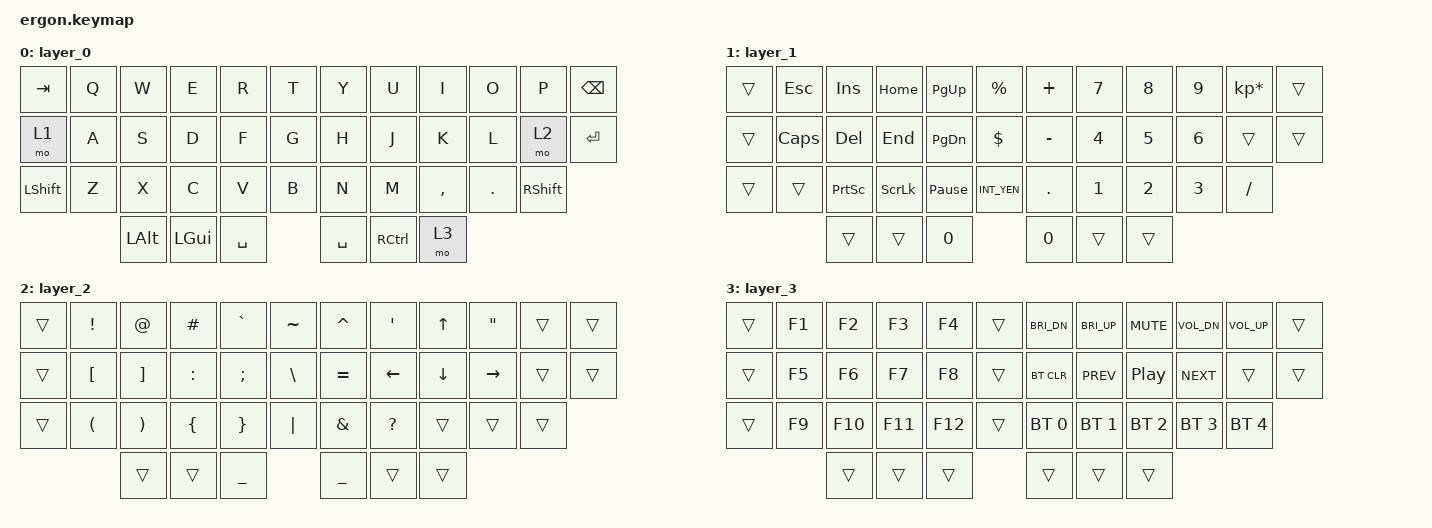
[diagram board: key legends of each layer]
/*
 * Copyright (c) 2024 Bodin Ruangjit
 *
 * SPDX-License-Identifier: MIT
 */

#include <behaviors.dtsi>
#include <dt-bindings/zmk/keys.h>
#include <dt-bindings/zmk/bt.h>

/ {
        keymap {
                compatible = "zmk,keymap";

                layer_0 {
// ┌─────┬─────┬─────┬─────┬─────┬─────┐         ┌─────┬─────┬─────┬─────┬─────┬───────┐
// │ TAB │  Q  │  W  │  E  │  R  │  T  │         │  Y  │  U  │  I  │  O  │  P  │  BSPC │
// ├─────┴─┬───┴─┬───┴─┬───┴─┬───┴─┬───┴─┐       └─┬───┴─┬───┴─┬───┴─┬───┴─┬───┴─┬─────┤
// │  L-1  │  A  │  S  │  D  │  F  │  G  │         │  H  │  J  │  K  │  L  │ L-2 │ENTER│
// ├───────┴──┬──┴──┬──┴──┬──┴──┬──┴──┬──┴──┐      └──┬──┴──┬──┴──┬──┴──┬──┴──┬──┴─────┤
// │   SHIFT  │  Z  │  X  │  C  │  V  │  B  │         │  N  │  M  │  ,  │  .  │  SHIFT │
// └──────────┴─┬───┴──┬──┴────┬┴─────┴──┬──┘      ┌──┴─────┼─────┴─┬───┴─┬───┴────────┘
//              │  ALT │  GUI  │  SPACE  │         │  SPACE │  CTRL │ L-3 │
//              └──────┴───────┴─────────┘         └────────┴───────┴─────┘
                        bindings = <
   &kp TAB    &kp Q   &kp W   &kp E   &kp R   &kp T       &kp Y     &kp U     &kp I     &kp O   &kp P   &kp BSPC
   &mo 1      &kp A   &kp S   &kp D   &kp F   &kp G       &kp H     &kp J     &kp K     &kp L   &mo 2   &kp RET
   &kp LSHFT  &kp Z   &kp X   &kp C   &kp V   &kp B       &kp N     &kp M     &kp COMMA &kp DOT &kp RSHFT
                      &kp LALT  &kp LGUI  &kp SPACE       &kp SPACE &kp RCTRL &mo 3
                        >;
                };

                layer_1 {
// ┌─────┬─────┬─────┬─────┬─────┬─────┐         ┌─────┬─────┬─────┬─────┬─────┬───────┐
// │     │ ESC │ INS │HOME │PGUP │  %  │         │  +  │  7  │  8  │  9  │  *  │       │
// ├─────┴─┬───┴─┬───┴─┬───┴─┬───┴─┬───┴─┐       └─┬───┴─┬───┴─┬───┴─┬───┴─┬───┴─┬─────┤
// │       │CAPS │ DEL │ END │PGDN │  $  │         │  -  │  4  │  5  │  6  │     │     │
// ├───────┴──┬──┴──┬──┴──┬──┴──┬──┴──┬──┴──┐      └──┬──┴──┬──┴──┬──┴──┬──┴──┬──┴─────┤
// │          │     │PRTSC│SCRLK│PAUSE│  ¥  │         │  .  │  1  │  2  │  3  │   /    │
// └──────────┴─┬───┴──┬──┴────┬┴─────┴──┬──┘      ┌──┴─────┼─────┴─┬───┴─┬───┴────────┘
//              │      │       │    0    │         │    0   │       │     │
//              └──────┴───────┴─────────┘         └────────┴───────┴─────┘
                        bindings = <
   &trans  &kp ESC   &kp INS    &kp HOME  &kp PG_UP       &kp PRCNT         &kp PLUS   &kp N7  &kp N8  &kp N9  &kp KP_ASTERISK  &trans
   &trans  &kp CAPS  &kp DEL    &kp END   &kp PG_DN       &kp DLLR          &kp MINUS  &kp N4  &kp N5  &kp N6  &trans           &trans
   &trans  &trans    &kp PSCRN  &kp SLCK  &kp PAUSE_BREAK &kp INT_YEN       &kp DOT    &kp N1  &kp N2  &kp N3  &kp FSLH
                                        &trans   &trans   &kp N0            &kp N0     &trans  &trans
                        >;
                };

                layer_2 {
// ┌─────┬─────┬─────┬─────┬─────┬─────┐         ┌─────┬─────┬─────┬─────┬─────┬───────┐
// │     │  !  │  @  │  #  │  `  │  ~  │         │  ^  │  '  │  UP │  "  │     │       │
// ├─────┴─┬───┴─┬───┴─┬───┴─┬───┴─┬───┴─┐       └─┬───┴─┬───┴─┬───┴─┬───┴─┬───┴─┬─────┤
// │       │  [  │  ]  │  :  │  ;  │  \  │         │  =  │LEFT │DOWN │RIGHT│     │     │
// ├───────┴──┬──┴──┬──┴──┬──┴──┬──┴──┬──┴──┐      └──┬──┴──┬──┴──┬──┴──┬──┴──┬──┴─────┤
// │          │  (  │  )  │  {  │  }  │  |  │         │  &  │  ?  │     │     │        │
// └──────────┴─┬───┴──┬──┴────┬┴─────┴──┬──┘      ┌──┴─────┼─────┴─┬───┴─┬───┴────────┘
//              │      │       │    _    │         │    _   │       │     │
//              └──────┴───────┴─────────┘         └────────┴───────┴─────┘
                        bindings = <
   &trans  &kp EXCL  &kp AT   &kp HASH  &kp GRAVE &kp TILDE     &kp CARET  &kp SQT   &kp UP    &kp DQT   &trans  &trans
   &trans  &kp LBKT  &kp RBKT &kp COLON &kp SEMI  &kp BSLH      &kp EQUAL  &kp LEFT  &kp DOWN  &kp RIGHT &trans  &trans
   &trans  &kp LPAR  &kp RPAR &kp LBRC  &kp RBRC  &kp PIPE      &kp AMPS  &kp QMARK  &trans    &trans    &trans
                                &trans   &trans   &kp UNDER     &kp UNDER  &trans    &trans
                        >;
                };

                layer_3 {
// ┌─────┬─────┬─────┬─────┬─────┬─────┐         ┌─────┬─────┬─────┬─────┬─────┬───────┐
// │     │  F1 │  F2 │  F3 │  F4 │     │         │BRI- │BRI+ │MUTE │VOL- │VOL+ │       │
// ├─────┴─┬───┴─┬───┴─┬───┴─┬───┴─┬───┴─┐       └─┬───┴─┬───┴─┬───┴─┬───┴─┬───┴─┬─────┤
// │       │  F5 │  F6 │  F7 │  F8 │     │         │BT-C │PREV │PLAY │NEXT │     │     │
// ├───────┴──┬──┴──┬──┴──┬──┴──┬──┴──┬──┴──┐      └──┬──┴──┬──┴──┬──┴──┬──┴──┬──┴─────┤
// │          │  F9 │ F10 │ F11 │ F12 │     │         │BL-1 │BL-2 │BL-3 │BL-4 │  BL-5  │
// └──────────┴─┬───┴──┬──┴────┬┴─────┴──┬──┘      ┌──┴─────┼─────┴─┬───┴─┬───┴────────┘
//              │      │       │         │         │        │       │     │
//              └──────┴───────┴─────────┘         └────────┴───────┴─────┘
                        bindings = <
   &trans  &kp F1   &kp F2   &kp F3   &kp F4   &trans      &kp C_BRI_DN  &kp C_BRI_UP  &kp C_MUTE    &kp C_VOL_DN   &kp C_VOL_UP  &trans
   &trans  &kp F5   &kp F6   &kp F7   &kp F8   &trans      &bt BT_CLR    &kp C_PREV    &kp C_PP      &kp C_NEXT     &trans        &trans
   &trans  &kp F9   &kp F10  &kp F11  &kp F12  &trans      &bt BT_SEL 0  &bt BT_SEL 1  &bt BT_SEL 2  &bt BT_SEL 3   &bt BT_SEL 4
                           &trans    &trans    &trans      &trans    &trans    &trans
                        >;
                };
        };
};
